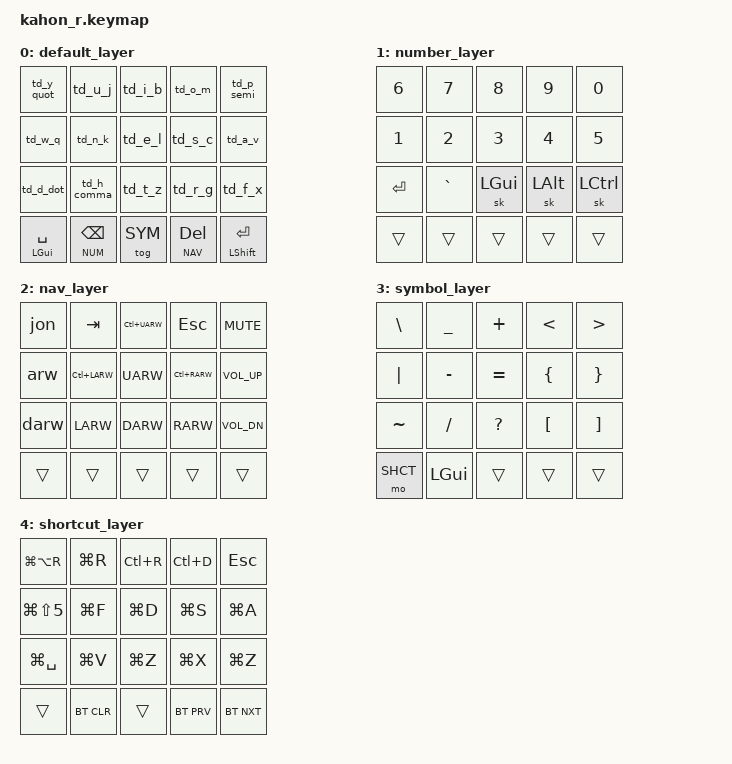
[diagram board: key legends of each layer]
#include <behaviors.dtsi>
#include <dt-bindings/zmk/keys.h>
#include <dt-bindings/zmk/bt.h>

#define AL1 0
#define AL2 1
#define NUM 2
#define NAV 3
#define SYM 4
#define SHCT 5


/ {

    behaviors {
        hm: homerow_mods {
            compatible = "zmk,behavior-hold-tap";
            #binding-cells = <2>;
            tapping-term-ms = <225>;
            flavor = "tap-preferred";
            bindings = <&kp>, <&kp>;
        };

        td_e_l: tap_dance_e_l {
            compatible = "zmk,behavior-tap-dance";
            #binding-cells = <0>;
            tapping-term-ms = <200>;
            bindings = <&kp E>, <&kp L>;
        };

        td_i_b: tap_dance_i_b {
            compatible = "zmk,behavior-tap-dance";
            #binding-cells = <0>;
            tapping-term-ms = <200>;
            bindings = <&kp I>, <&kp B>;
        };

        td_t_z: tap_dance_t_z {
            compatible = "zmk,behavior-tap-dance";
            #binding-cells = <0>;
            tapping-term-ms = <200>;
            bindings = <&kp T>, <&kp Z>;
        };

        td_o_m: tap_dance_o_m {
            compatible = "zmk,behavior-tap-dance";
            #binding-cells = <0>;
            tapping-term-ms = <200>;
            bindings = <&kp O>, <&kp M>;
        };

        td_s_c: tap_dance_s_c {
            compatible = "zmk,behavior-tap-dance";
            #binding-cells = <0>;
            tapping-term-ms = <200>;
            bindings = <&kp S>, <&kp C>;
        };

        td_r_g: tap_dance_r_g {
            compatible = "zmk,behavior-tap-dance";
            #binding-cells = <0>;
            tapping-term-ms = <200>;
            bindings = <&kp R>, <&kp G>;
        };

        td_a_v: tap_dance_a_v {
            compatible = "zmk,behavior-tap-dance";
            #binding-cells = <0>;
            tapping-term-ms = <200>;
            bindings = <&kp A>, <&kp V>;
        };

        td_f_x: tap_dance_f_x {
            compatible = "zmk,behavior-tap-dance";
            #binding-cells = <0>;
            tapping-term-ms = <200>;
            bindings = <&kp F>, <&kp X>;
        };

        td_p_semi: tap_dance_p_semi {
            compatible = "zmk,behavior-tap-dance";
            #binding-cells = <0>;
            tapping-term-ms = <200>;
            bindings = <&kp P>, <&kp SEMI>;
        };

        td_u_j: tap_dance_u_j {
            compatible = "zmk,behavior-tap-dance";
            #binding-cells = <0>;
            tapping-term-ms = <200>;
            bindings = <&kp U>, <&kp J>;
        };

        td_n_k: tap_dance_n_k {
            compatible = "zmk,behavior-tap-dance";
            #binding-cells = <0>;
            tapping-term-ms = <200>;
            bindings = <&kp N>, <&kp K>;
        };

        td_h_comma: tap_dance_h_comma {
            compatible = "zmk,behavior-tap-dance";
            #binding-cells = <0>;
            tapping-term-ms = <200>;
            bindings = <&kp H>, <&kp COMMA>;
        };

        td_y_quot: tap_dance_y_quot {
            compatible = "zmk,behavior-tap-dance";
            #binding-cells = <0>;
            tapping-term-ms = <200>;
            bindings = <&kp Y>, <&kp QUOT>;
        };

        td_w_q: tap_dance_w_q {
            compatible = "zmk,behavior-tap-dance";
            #binding-cells = <0>;
            tapping-term-ms = <200>;
            bindings = <&kp W>, <&kp Q>;
        };

        td_d_dot: tap_dance_d_dot {
            compatible = "zmk,behavior-tap-dance";
            #binding-cells = <0>;
            tapping-term-ms = <200>;
            bindings = <&kp D>, <&kp DOT>;
        };
    };

    macros {
        jon: jon {
            compatible = "zmk,behavior-macro";
            #binding-cells = <0>;
            bindings
                = <&macro_tap &kp J &kp O &kp N &kp N9 &kp N9 >
                ;
        };
        arw: arw {
            compatible = "zmk,behavior-macro";
            #binding-cells = <0>;
            bindings
                = <&macro_tap &kp MINUS &kp GT >
                ;
        };
        darw: darw {
            compatible = "zmk,behavior-macro";
            #binding-cells = <0>;
            bindings
                = <&macro_tap &kp EQUAL &kp GT >
                ;
        };
    };

    keymap {
        compatible = "zmk,keymap";

        default_layer {
            bindings = <
                         
                &td_y_quot   &td_u_j    &td_i_b          &td_o_m          &td_p_semi
                &td_w_q   &td_n_k    &td_e_l         &td_s_c      &td_a_v
                &td_d_dot   &td_h_comma    &td_t_z          &td_r_g       &td_f_x           

                &hm LGUI SPACE    &lt NUM BKSP       &tog SYM     &lt NAV DEL     &hm LSHFT RET                               
            >;
        };
        
        // alpha2_layer {
        //     bindings = <
        //         &kp QUOT  &kp   J  &kp B   &kp M &kp  SEMI            
        //         &kp Q   &kp K   &kp L   &kp  C  &kp   V                     
        //         &kp  DOT &kp COMMA  &kp Z   &kp G    &kp   X     

        //         &trans   &trans   &trans   &trans   &trans                  
        //     >;
        // };



        // default_layer {
        //     bindings = <
                         
        //         &kp   P     &kp   O        &kp   I         &kp    U      &kp  F     
        //         &kp  A      &kp N           &kp E           &kp  T         &kp  D
        //        &kp  Y       &kp   S     &kp    H       &kp  R       &kp    W              

        //         &hm LSHFT RET      &lt NAV DEL    &tog SYM  &lt NUM BKSP    &lt AL2 SPACE                   
        //     >;
        // };


        // default_layer {
        //     bindings = <
                         
        //         &kp   F     &kp   A        &kp    R         &kp   W       &kp    P   
        //         &kp   O    &kp     E        &kp  H         &kp   T       &kp  D 
        //        &kp   U         &kp  I      &kp  N          &kp  S          &kp   Y            

        //       &lt AL2 SPACE    &lt NUM BKSP       &tog SYM     &lt NAV DEL     &hm LSHFT RET                
        //     >;
        // };




        number_layer {
            bindings = <
                &kp N6   &kp N7   &kp N8   &kp N9   &kp N0                      
                &kp N1   &kp N2   &kp N3   &kp N4   &kp N5                       
                &kp RET    &kp GRAVE    &sk LGUI     &sk LALT   &sk LCTRL  

                &trans   &trans   &trans   &trans   &trans                  
            >;
        };

        nav_layer {
            bindings = <
               &jon     &kp  TAB   &kp LC(UARW) &kp ESC     &kp K_MUTE                 
                &arw       &kp LC(LARW)       &kp UARW &kp LC(RARW)      &kp K_VOL_UP               
                &darw    &kp LARW       &kp DARW &kp RARW      &kp K_VOL_DN 

                &trans   &trans   &trans   &trans   &trans                  
            >;
        };

        symbol_layer {
            bindings = <
                &kp BSLH   &kp UNDER       &kp PLUS         &kp LT        &kp GT                   
                &kp PIPE  &kp MINUS       &kp EQUAL        &kp LBRC      &kp RBRC                 
                &kp TILDE  &kp FSLH        &kp QMARK       &kp LBKT      &kp RBKT
                &mo SHCT  &kp LGUI       &trans   &trans   &trans           
            >;
        };

        shortcut_layer {
            bindings = <
                &kp LG(LA(R))   &kp LG(R) &kp  LC(R)  &kp   LC(D)   &kp   ESC           
                &kp LG(LS(N5))    &kp  LG(F)     &kp LG(D)         &kp       LG(S)        &kp LG(A)
                &kp LG(SPACE) &kp   LG(V)        &kp LG(Z)          &kp LG(X)  &kp LG(Z)

                  &trans   &bt BT_CLR   &trans    &bt BT_PRV   &bt BT_NXT          
            >;
        };


    };
};
